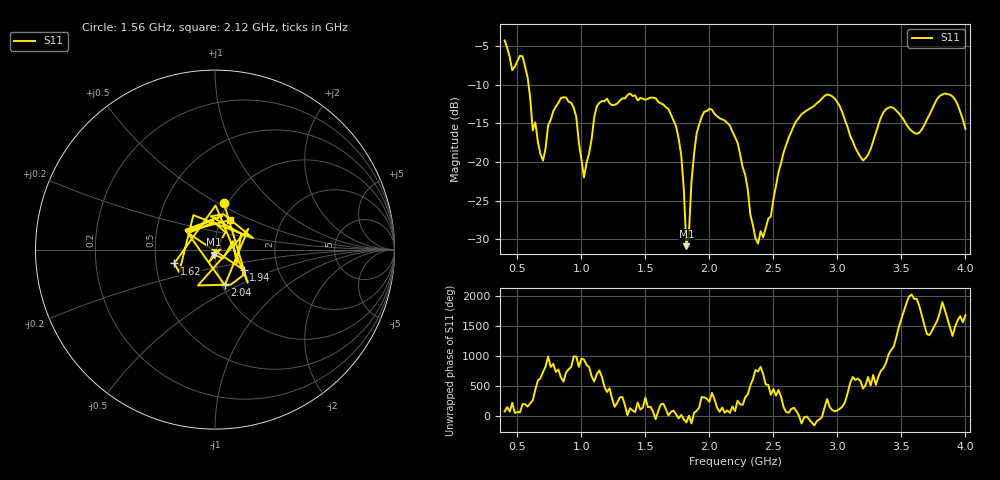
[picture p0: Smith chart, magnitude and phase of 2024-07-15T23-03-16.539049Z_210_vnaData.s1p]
!Created with skrf (http://scikit-rf.org).
# Hz S RI R 50.0
!freq ReS11 ImS11
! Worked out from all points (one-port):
!   181 points, 400 MHz to 4 GHz, reference 50 ohm
!   lowest |S11| = -30.9 dB at 1.82 GHz (marker M1), VSWR 1.06, Z = 49.5 - j2.78 ohm
!   |S11| at or under -10 dB: 587.3 MHz to end of sweep
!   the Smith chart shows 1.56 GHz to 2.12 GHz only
!   S11 on the Smith chart (normalised r, x): 1.56 GHz: 0.96, +0.53; 1.62 GHz: 0.62, -0.10; 1.94 GHz: 1.34, -0.32; 2.04 GHz: 1.03, -0.42; 2.12 GHz: 1.12, +0.38
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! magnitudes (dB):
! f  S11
! 400 MHz  -4.2
! 460 MHz  -8.1
! 540 MHz  -6.3
! 620 MHz  -15.9
! 700 MHz  -19.8
! 860 MHz  -11.6
! 960 MHz  -14.1
! 1.02 GHz  -22.0
! 1.12 GHz  -12.8
! 1.3 GHz  -12.0
! 1.56 GHz  -11.6
! 1.62 GHz  -12.4
! 1.76 GHz  -17.0
! 1.82 GHz  -30.9
! 1.88 GHz  -19.0
! 1.94 GHz  -14.1
! 2.04 GHz  -13.8
! 2.12 GHz  -14.6
! 2.2 GHz  -16.7
! 2.38 GHz  -30.6
! 2.66 GHz  -15.3
! 2.92 GHz  -11.2
! 3.1 GHz  -16.6
! 3.2 GHz  -19.8
! 3.38 GHz  -13.1
! 3.56 GHz  -15.6
! 3.84 GHz  -11.1
! 4 GHz  -15.7
